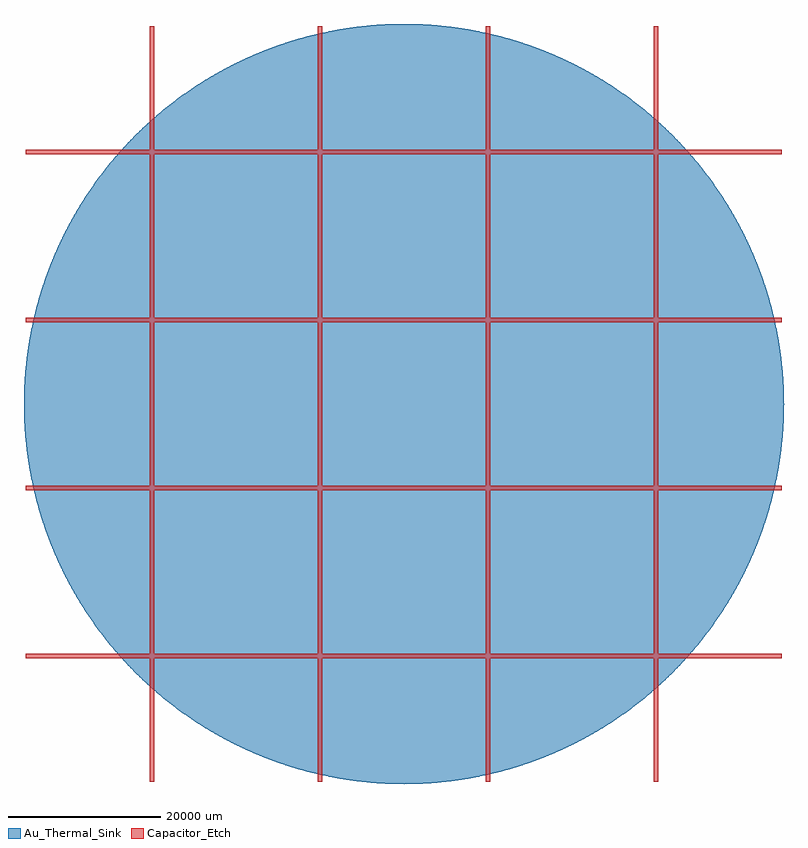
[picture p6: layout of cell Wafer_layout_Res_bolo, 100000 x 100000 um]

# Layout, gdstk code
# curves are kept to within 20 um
import gdstk
lib = gdstk.Library(unit=1e-6, precision=1e-09)
def P(c, l, *ps):  # polygons
    for p in ps: c.add(gdstk.Polygon(p, *l))
Capacitor_Etch = (7, 0)
Au_Thermal_Sink = (12, 0)

sts_cutout_hor_r = lib.new_cell('STS_cutout_Hor_r')
P(sts_cutout_hor_r, Capacitor_Etch, [(-5725,-300),(-5725,300),(5725,300),(5725,-300),(-5525,-300),(-5525,-25),(5525,-25),(5525,25),(-5525,25),(-5525,-300)])

sts_cutout_ver_r = lib.new_cell('STS_cutout_Ver_r')
P(sts_cutout_ver_r, Capacitor_Etch, [(-300,-5725),(-300,5725),(300,5725),(300,-5725),(-25,-5725),(-25,-5525),(25,-5525),(25,5525),(-25,5525),(-25,-5725)])

wafer_layout_res_bolo = lib.new_cell('Wafer_layout_Res_bolo')
P(wafer_layout_res_bolo, Au_Thermal_Sink, [(0,-50000),(-2457,-49939.5),(-4908,-49758.5),(-7347,-49457.25),(-9768.25,-49036.5),(-12166,-48497.25),(-14534.5,-47840.75),(-16867.75,-47068.75),(-19160,-46183.25),(-21406,-45186),(-23600.75,-44079.5),(-25738.25,-42866.5),(-27813.5,-41550),(-29821.5,-40133.25),(-31757.25,-38619.5),(-33533.75,-37087.5),(-35315.75,-35394.75),(-37012.5,-33616.5),(-38619.5,-31757.25),(-40133.25,-29821.5),(-41550,-27813.5),(-42866.5,-25738.25),(-44079.5,-23600.75),(-45186,-21406),(-46183.25,-19160),(-47068.75,-16867.75),(-47840.75,-14534.5),(-48497.25,-12166),(-49036.5,-9768.25),(-49457.25,-7347),(-49758.5,-4908),(-49939.5,-2457),(-50000,0),(-49939.5,2457),(-49758.5,4908),(-49457.25,7347),(-49036.5,9768.25),(-48497.25,12166),(-47840.75,14534.5),(-47068.75,16867.75),(-46183.25,19160),(-45186,21406),(-44079.5,23600.75),(-42866.5,25738.25),(-41550,27813.5),(-40133.25,29821.5),(-38619.5,31757.25),(-37087.5,33533.75),(-35394.75,35315.75),(-33616.5,37012.5),(-31757.25,38619.5),(-29821.5,40133.25),(-27813.5,41550),(-25738.25,42866.5),(-23600.75,44079.5),(-21406,45186),(-19160,46183.25),(-16867.75,47068.75),(-14534.5,47840.75),(-12166,48497.25),(-9768.25,49036.5),(-7347,49457.25),(-4908,49758.5),(-2457,49939.5),(0,50000)],
  [(0,-50000),(0,50000),(2457,49939.5),(4908,49758.5),(7347,49457.25),(9768.25,49036.5),(12166,48497.25),(14534.5,47840.75),(16867.75,47068.75),(19160,46183.25),(21406,45186),(23600.75,44079.5),(25738.25,42866.5),(27813.5,41550),(29821.5,40133.25),(31757.25,38619.5),(33533.75,37087.5),(35315.75,35394.75),(37012.5,33616.5),(38619.5,31757.25),(40133.25,29821.5),(41550,27813.5),(42866.5,25738.25),(44079.5,23600.75),(45186,21406),(46183.25,19160),(47068.75,16867.75),(47840.75,14534.5),(48497.25,12166),(49036.5,9768.25),(49457.25,7347),(49758.5,4908),(49939.5,2457),(50000,0),(49939.5,-2457),(49758.5,-4908),(49457.25,-7347),(49036.5,-9768.25),(48497.25,-12166),(47840.75,-14534.5),(47068.75,-16867.75),(46183.25,-19160),(45186,-21406),(44079.5,-23600.75),(42866.5,-25738.25),(41550,-27813.5),(40133.25,-29821.5),(38619.5,-31757.25),(37087.5,-33533.75),(35394.75,-35315.75),(33616.5,-37012.5),(31757.25,-38619.5),(29821.5,-40133.25),(27813.5,-41550),(25738.25,-42866.5),(23600.75,-44079.5),(21406,-45186),(19160,-46183.25),(16867.75,-47068.75),(14534.5,-47840.75),(12166,-48497.25),(9768.25,-49036.5),(7347,-49457.25),(4908,-49758.5),(2457,-49939.5)])
r = gdstk.Reference(sts_cutout_hor_r, (-44023.992,-33150)); r.repetition = gdstk.Repetition(9, 4, v1=(11000,0), v2=(0,22100)); wafer_layout_res_bolo.add(r)
r = gdstk.Reference(sts_cutout_ver_r, (-33150,-44000)); r.repetition = gdstk.Repetition(4, 9, v1=(22100,0), v2=(0,11000)); wafer_layout_res_bolo.add(r)

lib.write_gds('Wafer_layout_Res_bolo.gds')
